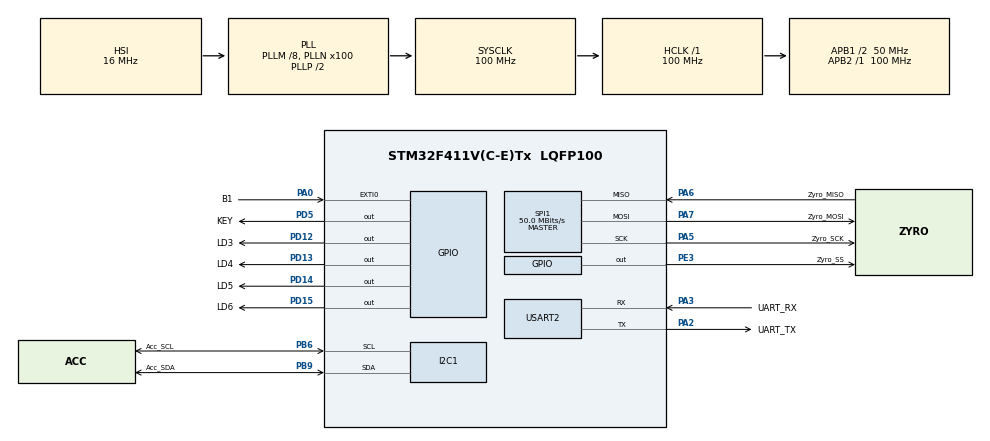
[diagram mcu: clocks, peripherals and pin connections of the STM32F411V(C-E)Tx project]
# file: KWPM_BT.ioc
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I2C1.I2C_Mode=I2C_Fast
Mcu.Family=STM32F4
Mcu.Name=STM32F411V(C-E)Tx
Mcu.Package=LQFP100
NVIC.EXTI0_IRQn=true\:0\:0\:false\:false\:true\:true\:true
NVIC.PriorityGroup=NVIC_PRIORITYGROUP_4
NVIC.TIM1_TRG_COM_TIM11_IRQn=true\:0\:0\:false\:false\:true\:true\:true
NVIC.TIM1_UP_TIM10_IRQn=true\:0\:0\:false\:false\:true\:true\:true
NVIC.USART2_IRQn=true\:0\:0\:false\:false\:true\:true\:true
PA0-WKUP.GPIO_Label=B1
PA0-WKUP.Signal=GPXTI0
PA2.GPIO_Label=UART_TX
PA2.Mode=Asynchronous
PA2.Signal=USART2_TX
PA3.GPIO_Label=UART_RX
PA3.Mode=Asynchronous
PA3.Signal=USART2_RX
PA5.GPIO_Label=Zyro_SCK
PA5.Mode=Full_Duplex_Master
PA5.Signal=SPI1_SCK
PA6.GPIO_Label=Zyro_MISO
PA6.Mode=Full_Duplex_Master
PA6.Signal=SPI1_MISO
PA7.GPIO_Label=Zyro_MOSI
PA7.Mode=Full_Duplex_Master
PA7.Signal=SPI1_MOSI
PB6.GPIO_Label=Acc_SCL
PB6.Mode=I2C
PB6.Signal=I2C1_SCL
PB9.GPIO_Label=Acc_SDA
PB9.Mode=I2C
PB9.Signal=I2C1_SDA
PC14-OSC32_IN.Mode=LSE-External-Oscillator
PC14-OSC32_IN.Signal=RCC_OSC32_IN
PC15-OSC32_OUT.Mode=LSE-External-Oscillator
PC15-OSC32_OUT.Signal=RCC_OSC32_OUT
PD12.GPIO_Label=LD3
PD12.Signal=GPIO_Output
PD13.GPIO_Label=LD4
PD13.Signal=GPIO_Output
PD14.GPIO_Label=LD5
PD14.Signal=GPIO_Output
PD15.GPIO_Label=LD6
PD15.Signal=GPIO_Output
PD5.GPIO_Label=KEY
PD5.Signal=GPIO_Output
PE3.GPIO_Label=Zyro_SS
PE3.Signal=GPIO_Output
PH0\ -\ OSC_IN.Mode=HSE-External-Clock-Source
PH0\ -\ OSC_IN.Signal=RCC_OSC_IN
PH1\ -\ OSC_OUT.Mode=HSE-External-Clock-Source
PH1\ -\ OSC_OUT.Signal=RCC_OSC_OUT
ProjectManager.HeapSize=0x200
ProjectManager.StackSize=0x400
ProjectManager.TargetToolchain=STM32CubeIDE
RCC.48MHZClocksFreq_Value=50000000
RCC.AHBFreq_Value=100000000
RCC.APB1CLKDivider=RCC_HCLK_DIV2
RCC.APB1Freq_Value=50000000
RCC.APB1TimFreq_Value=100000000
RCC.APB2Freq_Value=100000000
RCC.APB2TimFreq_Value=100000000
RCC.CortexFreq_Value=100000000
RCC.HCLKFreq_Value=100000000
RCC.HSE_VALUE=25000000
RCC.HSI_VALUE=16000000
RCC.PLLM=8
RCC.PLLN=100
RCC.SYSCLKFreq_VALUE=100000000
RCC.SYSCLKSource=RCC_SYSCLKSOURCE_PLLCLK
RCC.VCOOutputFreq_Value=200000000
SPI1.CalculateBaudRate=50.0 MBits/s
SPI1.Direction=SPI_DIRECTION_2LINES
SPI1.Mode=SPI_MODE_MASTER
SPI1.VirtualType=VM_MASTER
TIM10.Period=999
TIM10.Prescaler=9999
TIM11.Period=199
TIM11.Prescaler=9999
USART2.VirtualMode=VM_ASYNC
VP_TIM10_VS_ClockSourceINT.Mode=Enable_Timer
VP_TIM11_VS_ClockSourceINT.Mode=Enable_Timer
board=STM32F411E-DISCO

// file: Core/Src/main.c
/* USER CODE BEGIN Header */
/**
  ******************************************************************************
  * @file           : main.c
  * @brief          : Main program body
  ******************************************************************************
  * @attention
  *
  * <h2><center>&copy; Copyright (c) 2020 STMicroelectronics.
  * All rights reserved.</center></h2>
  *
  * This software component is licensed by ST under BSD 3-Clause license,
  * the "License"; You may not use this file except in compliance with the
  * License. You may obtain a copy of the License at:
  *                        opensource.org/licenses/BSD-3-Clause
  *
  ******************************************************************************
  */
/* USER CODE END Header */

#include "main.h"
#include "i2c.h"
#include "spi.h"
#include "tim.h"
#include "usart.h"
#include "gpio.h"

/* USER CODE BEGIN Includes */
#include "matrix.h"
#include <stdio.h>
#include <limits.h>
#include <math.h>
#include <string.h>
/* USER CODE END Includes */

/* USER CODE BEGIN PD */

//AKCELEROMETR
#define ACC_USTAWIENIA 0x57
#define ACC_ADRES (0x19 << 1)
#define ACC_CTRL_REG1_A 0x20
#define ACC_CTRL_REG4_A 0x23
#define ACC_ZCZYTANIE_POCZATEK 0x28
#define ACC_MULTI_READ 0x80
#define ACC_WSZYSTKIE_OSIE_ZCZYTANIE (ACC_MULTI_READ | ACC_ZCZYTANIE_POCZATEK)
#define ACC_SET_4G 0x10

//ZYROSKOP
#define ZYR_REG1_A 0x20
#define ZYR_USTAWIENIA 0x0F
#define ZYR_MULTIREAD 0x40
#define ZYR_READ 0x80
#define ZYR_ZCZYTANIE_POCZATEK 0x28
#define ZYR_WSZYSTKIE_OSIE_ZCZYTANIE (ZYR_READ | ZYR_MULTIREAD | ZYR_ZCZYTANIE_POCZATEK)

/* USER CODE END PD */

/* USER CODE BEGIN PV */

//Komunikacja
int8_t Wiadomosc[200];
uint8_t Odbior;
int16_t Rozmiar;

uint8_t Dane[6]; // Tablica przechowujaca wszystkie bajty zczytane z akcelerometru lub zyroskopu
int16_t X = 0; // Zczytane dane z osi X w formie zlaczonych w całość bajtów starszych i młodszych
int16_t Y = 0; // Zczytane dane z osi Y w formie zlaczonych w całość bajtów starszych i młodszych
int16_t Z = 0; // Zczytane dane z osi Z w formie zlaczonych w całość bajtów starszych i młodszych

float X_g = 0; // Zawiera przyspieszenie w osi X w jednostce g - przyspieszenia ziemskiego
float Y_g = 0; // Zawiera przyspieszenie w osi Y w jednostce g - przyspieszenia ziemskiego
float Z_g = 0; // Zawiera przyspieszenie w osi Z w jednostce g - przyspieszenia ziemskiego

float X_mem = 0; // Poprzednia wartość
float Y_mem = 0; // Poprzednia wartość
float Z_mem = 0; // Poprzednia wartość

float X_roznica = 0; // Przechowywuje roznice
float Y_roznica = 0; // Przechowywuje roznice
float Z_roznica = 0; // Przechowywuje roznice

float X_kat = 0; // Zawiera wartosc przyspieszenia katowego w osi X w jednostce dps - degrees per second
float Y_kat = 0; // Zawiera wartosc przyspieszenia katowego w osi Y w jednostce dps - degrees per second
float Z_kat = 0; // Zawiera wartosc przyspieszenia katowego w osi Z w jednostce dps - degrees per second

float roll = 0; //kat roll dla filtru komplementarnego
float pitch = 0; //kat pitch dla filtru komplementarnego

int Button_B_mem = 0; //zmienne przechowujace stan przycisku B1
int Button_B = 0;

int Polaczenie = 0; //nawiazana lacznosc z komputerem

//KALMAN x
float x_post[2];
float A[4], B[2], C[2];
float std_dev_v, std_dev_w;
float V[4], W[1];
float P_pri[4], P_post[4];
float x_pri[2];
float eps[1], S[1], K[2];
float u[1], y[1];
float acc_x, acc_y, acc_z;

float Ax[2], Bu[2];
float AP[4], AT[4], APAT[4];
float Cx[1];
float CP[2], CPCT[1];
float PCT[2], S1[1];
float Keps[2];
float KS[2], KSKT[2];

//KALMAN y
float y_post[2];
float A2[4], B2[2], C2[2];
float std_dev_v2, std_dev_w2;
float V2[4], W2[1];
float P_pri2[4], P_post2[4];
float y_pri[2];
float eps2[1], S2[1], K2[2];
float u2[1];
float y2[1];

float Ax2[2], Bu2[2];
float AP2[4], AT2[4], APAT2[4];
float Cx2[1];
float CP2[2], CPCT2[1];
float PCT2[2], S12[1];
float Keps2[2];
float KS2[2], KSKT2[2];
/* USER CODE END PV */

void SystemClock_Config(void);

/* USER CODE BEGIN 0 */

volatile int flaga = 0;
volatile int flaga2 = 0;
//printf przeciazenie

void HAL_TIM_PeriodElapsedCallback (TIM_HandleTypeDef* htim)
{
	if(htim == &htim11){
		flaga = 1;
	}

	if(htim == &htim10){
		flaga2 = 1;
	}
}

void Setup_UART_BT(UART_HandleTypeDef * UART){

	HAL_Delay(1000);
	HAL_GPIO_WritePin(KEY_GPIO_Port, KEY_Pin, GPIO_PIN_SET);
	HAL_Delay(100);                       //Przywrocenie ustawien fabrycznych
	HAL_UART_Transmit(UART, (uint8_t*) "AT+ORGL\r\n", strlen("AT+ORGL\r\n"), 100);
	HAL_Delay(100);                        //Wyzerowanie sparowanych urzadzen
	HAL_UART_Transmit(UART, (uint8_t*) "AT+RMAAD\r\n", strlen("AT+RMAAD\r\n"), 100);
	HAL_Delay(100);                               //Zmiana nazwy na  BT_STM
	HAL_UART_Transmit(UART, (uint8_t*) "AT+NAME=BT_STM\r\n", strlen("AT+NAME=BT_STM\r\n"), 100);
	HAL_Delay(100);                        //Ustawienie roli urzadzenia w tryb slave
	HAL_UART_Transmit(UART, (uint8_t*) "AT+ROLE=0\r\n", strlen("AT+ROLE=0\r\n"), 100);
	HAL_Delay(100);                    //Ustawienie predkosci, ilosci bitow stop, parzystosci
	HAL_UART_Transmit(UART, (uint8_t*) "AT+UART=115200,0,0\r\n", strlen("AT+UART=115200,0,0\r\n"), 100);
	HAL_Delay(100);
	HAL_GPIO_WritePin(KEY_GPIO_Port, KEY_Pin, GPIO_PIN_RESET);

}

void Setup_L3GD20(SPI_HandleTypeDef* spi){

	uint8_t tmp;

	//Rozpoczecie komunikacji spi z zyroskopem
	HAL_GPIO_WritePin(Zyro_SS_GPIO_Port, Zyro_SS_Pin, GPIO_PIN_RESET);

	tmp = ZYR_REG1_A;
	HAL_SPI_Transmit(spi, &tmp, 1, 20);
	tmp = ZYR_USTAWIENIA;
	HAL_SPI_Transmit(spi, &tmp, 1, 20);

	HAL_GPIO_WritePin(Zyro_SS_GPIO_Port, Zyro_SS_Pin, GPIO_PIN_SET);
	HAL_Delay(100);
}

void L3GD20_MultiRead(SPI_HandleTypeDef* spi){

	uint8_t tmp;

	//Rozpoczecie komunikacji spi z zyroskopem
	HAL_GPIO_WritePin(Zyro_SS_GPIO_Port, Zyro_SS_Pin, GPIO_PIN_RESET);

	//zczytanie wartosci wskazan 3ech osi naraz (6 bajtow = 3x(mlodszy i starszy bajt))
	tmp = ZYR_WSZYSTKIE_OSIE_ZCZYTANIE;
	HAL_SPI_Transmit(spi, &tmp, 1, 100);//adres wraz z multireadem
	HAL_SPI_Receive(spi, Dane, 6, 100);

	HAL_GPIO_WritePin(Zyro_SS_GPIO_Port, Zyro_SS_Pin, GPIO_PIN_SET);
}

/////////////////////////////////////////////////////////////
void Filtr_komplementarny(float xg, float yg, float zg, float xa, float ya, float za, float przyrost){

	float dt = 0.02;//50 Hz = 0.02s
	float pitchAcc; //zmienna przechowujaca wskazanie akcelerometru dla danego kata
	float rollAcc;  //zmienna przechowujaca wskazanie akcelerometru dla danego kata

	roll+= xa * dt;
	pitch+= ya * dt;

	//obliczenie sumy przyspieszen w celu wyeliminowania drgan

	if (przyrost > 0.4){

        //Obliczenia dla katu roll
        rollAcc = atan2f(xg, zg) * 180 / M_PI;
        roll = roll * 0.98 + rollAcc * 0.02;

		//Obliczenia dla katu pitch
        pitchAcc = atan2f(yg, zg) * 180 / M_PI;
        pitch = pitch * 0.98 + pitchAcc * 0.02;

	}
}

/////////////////////////////////////////////////////////////////////////////////////////////////////
void KalmanInit(float xg, float zg, float za){
	float dt;

	dt = 0.02;

	A[0] = 1;
	A[1] = -dt;
	A[2] = 0;
	A[3] = 1;

	B[0] = dt;
	B[1] = 0;

	C[0] = 1;
	C[1] = 0;

	std_dev_v = 1;
	std_dev_w = 2;
	V[0] = std_dev_v * std_dev_v * dt;
	V[1] = 0;
	V[2] = 0;
	V[3] = std_dev_v * std_dev_v * dt;
	W[0] = std_dev_w * std_dev_w;

	/* Wartosci poczatkowe filtru */
	P_post[0] = 1;
	P_post[1] = 0;
	P_post[2] = 0;
	P_post[3] = 1;

	acc_x = xg;
	acc_z = zg;
	x_post[0] = atan2f(acc_x,acc_z) * 180 / M_PI;
	x_post[1] = 0;

	HAL_Delay(150);
}

void KalmanInitY(float yg, float zg, float za){
	float dt;

	dt = 0.02;

	A2[0] = 1;
	A2[1] = -dt;
	A2[2] = 0;
	A2[3] = 1;

	B2[0] = dt;
	B2[1] = 0;

	C2[0] = 1;
	C2[1] = 0;

	std_dev_v2 = 1;
	std_dev_w2 = 2;
	V2[0] = std_dev_v2 * std_dev_v2 * dt;
	V2[1] = 0;
	V2[2] = 0;
	V2[3] = std_dev_v2 * std_dev_v2 * dt;
	W2[0] = std_dev_w2 * std_dev_w2;

	/* Wartosci poczatkowe filtru */
	P_post2[0] = 1;
	P_post2[1] = 0;
	P_post2[2] = 0;
	P_post2[3] = 1;

	acc_y = yg;
	acc_z = zg;
	y_post[0] = atan2f(acc_y,acc_z) * 180 / M_PI;
	y_post[1] = 0;

	HAL_Delay(150);
}

void filtrKalmana(float xg, float zg, float za){

		// I
		u[0] = za * 250 / 32768;
		matrix_2x2_mul_2x1(A, x_post, Ax);
		mx2x1_tim_mx1x1(B, u, Bu);
		matrix_2x1_add_2x1(Ax, Bu, x_pri);

		// II
		matrix_2x2_mul_2x2(A, P_post, AP);
		matrix_2x2_trans(A, AT);
		matrix_2x2_mul_2x2(AP, AT, APAT);
		matrix_2x2_add_2x2(APAT, V, P_pri);

		// III
		acc_x = xg;
		acc_z = zg;
		y[0] = atan2f(acc_x,acc_z ) * 180 / M_PI;
		mx1x2_tim_mx2x1(C, x_pri, Cx);
		eps[0] = y[0] - Cx[0];

		// IV
		mx1x2_tim_mx2x2(C, P_pri, CP);
		mx1x2_tim_mx2x1(C, C, CPCT);
		S[0] = CPCT[0] + W[0];

		// V
		matrix_2x2_mul_2x1(P_pri, C, PCT);
		S1[0] = 1 / S[0];
		mx2x1_tim_mx1x1(PCT, S1, K);

		// VI
		mx2x1_tim_mx1x1(K, eps, Keps);
		matrix_2x1_add_2x1(x_pri, Keps, x_post);

		// VII
		mx2x1_tim_mx1x1(K, S, KS);
		matrix_2x1_mul_1x2(KS, K, KSKT);
		matrix_2x2_sub_2x2(P_pri, KSKT, P_post);

}

void filtrKalmanaY(float yg, float zg, float za){

		// I
		u2[0] = za * 250 / 32768;
		matrix_2x2_mul_2x1(A2, y_post, Ax2);
		mx2x1_tim_mx1x1(B2, u2, Bu2);
		matrix_2x1_add_2x1(Ax2, Bu2, y_pri);

		// II
		matrix_2x2_mul_2x2(A2, P_post2, AP2);
		matrix_2x2_trans(A2, AT2);
		matrix_2x2_mul_2x2(AP2, AT2, APAT2);
		matrix_2x2_add_2x2(APAT2, V2, P_pri2);

		// III
		acc_y = yg;
		acc_z = zg;
		y2[0] = atan2f(acc_y,acc_z ) * 180 / M_PI;
		mx1x2_tim_mx2x1(C2, y_pri, Cx2);
		eps2[0] = y2[0] - Cx2[0];

		// IV
		mx1x2_tim_mx2x2(C2, P_pri2, CP2);
		mx1x2_tim_mx2x1(C2, C2, CPCT2);
		S2[0] = CPCT2[0] + W2[0];

		// V
		matrix_2x2_mul_2x1(P_pri2, C2, PCT2);
		S12[0] = 1 / S2[0];
		mx2x1_tim_mx1x1(PCT2, S12, K2);

		// VI
		mx2x1_tim_mx1x1(K2, eps2, Keps2);
		matrix_2x1_add_2x1(y_pri, Keps2, y_post);

		// VII
		mx2x1_tim_mx1x1(K2, S2, KS2);
		matrix_2x1_mul_1x2(KS2, K2, KSKT2);
		matrix_2x2_sub_2x2(P_pri2, KSKT2, P_post2);

}

/* USER CODE END 0 */

int main(void)
{

  /* MCU Configuration--------------------------------------------------------*/

  /* Reset of all peripherals, Initializes the Flash interface and the Systick. */
  HAL_Init();

  /* Configure the system clock */
  SystemClock_Config();

  /* Initialize all configured peripherals */
  MX_GPIO_Init();
  MX_I2C1_Init();
  MX_SPI1_Init();
  MX_TIM11_Init();
  MX_USART2_UART_Init();
  MX_TIM10_Init();
  /* USER CODE BEGIN 2 */

  //Zablokowanie komunikacji z zyroskopem
  HAL_GPIO_WritePin(Zyro_SS_GPIO_Port, Zyro_SS_Pin, GPIO_PIN_SET);

  //Wywolanie inicjalizacji ustawien zyroskopu
  //Setup_UART_BT(&huart2);

  //AKCELEROMETR - zmienne pomocnicze do komunikacji z akcelerometrem
  uint8_t USTAWIENIA = ACC_USTAWIENIA;
  uint8_t RESOLUTION = ACC_SET_4G;

  //AKCELEROMETR - aktywacja, 100Hz, oś XYZ
  HAL_I2C_Mem_Write(&hi2c1, ACC_ADRES, ACC_CTRL_REG1_A, 1, &USTAWIENIA, 1, 100);

  //AKCELEROMETR - zmiana zakresu pomiarowego z +-2g na +-4g
  HAL_I2C_Mem_Write(&hi2c1, ACC_ADRES, ACC_CTRL_REG4_A, 1, &RESOLUTION, 1, 100);

  //ZYROSKOP - setup
  Setup_L3GD20(&hspi1);

  //Kalman init
  KalmanInit(X_g,Z_g,Z_kat);

  KalmanInitY(Y_g,Z_g,Z_kat);

  /* USER CODE END 2 */

  /* Infinite loop */
  /* USER CODE BEGIN WHILE */

  //TIM11 - 50Hz TIM10 - 10Hz
  HAL_TIM_Base_Start_IT(&htim11);
  HAL_TIM_Base_Start_IT(&htim10);

  while (1)
  {
	  if(Polaczenie == 1){

		  Button_B_mem = Button_B;
		  Button_B = 0;
		   if (HAL_GPIO_ReadPin(B1_GPIO_Port, B1_Pin) == GPIO_PIN_SET) {

			   if (HAL_GPIO_ReadPin(B1_GPIO_Port, B1_Pin) == GPIO_PIN_SET) {

				   Button_B = 1;

					   if (flaga == 1){

						   //Zczytanie kolejnych 6ściu bajtów wskazań z kolejno osi x, y, z (3x(mlodszy + starszy bajt))
						   HAL_I2C_Mem_Read(&hi2c1, ACC_ADRES, ACC_WSZYSTKIE_OSIE_ZCZYTANIE, 1, Dane, 6, 100);
						   X = ((Dane[1] << 8) | Dane[0]);
						   Y = ((Dane[3] << 8) | Dane[2]);
						   Z = ((Dane[5] << 8) | Dane[4]);

						   //Przeksztalcenie w faktyczna jednostke wskazan
						   X_g = ((float) X * 4.0) / (float) INT16_MAX;
						   Y_g = ((float) Y * 4.0) / (float) INT16_MAX;
						   Z_g = ((float) Z * 4.0) / (float) INT16_MAX;

						   X_roznica = fabs(X_mem - X_g);
						   Y_roznica = fabs(Y_mem - Y_g);
						   Z_roznica = fabs(Z_mem - Z_g);

						   L3GD20_MultiRead(&hspi1);

						   X_kat = ((float)((int16_t)((Dane[1] << 8) | Dane[0])) * 250.0)/(float) INT16_MAX;
						   Y_kat = ((float)((int16_t)((Dane[3] << 8) | Dane[2])) * 250.0)/(float) INT16_MAX;
						   Z_kat = ((float)((int16_t)((Dane[5] << 8) | Dane[4])) * 250.0)/(float) INT16_MAX;

						   if(X_roznica > 0.15)HAL_GPIO_TogglePin(LD3_GPIO_Port, LD3_Pin);
						   if(Y_roznica > 0.15)HAL_GPIO_TogglePin(LD4_GPIO_Port, LD4_Pin);
						   if(Z_roznica > 0.15)HAL_GPIO_TogglePin(LD5_GPIO_Port, LD5_Pin);

						   filtrKalmana(X_g,Z_g,Z_kat);
						   filtrKalmanaY(Y_g,Z_g,Z_kat);

						   Filtr_komplementarny(X_g,Y_g,Z_g, X_kat,Y_kat,Z_kat,X_roznica+Y_roznica+Z_roznica);

						   Rozmiar = sprintf((char *)Wiadomosc, "Xg: %f Yg: %f Zg: %f Xa: %f Ya: %f Za: %f Rkom: %f Pkom: %f Xpost: %f Ypost: %f B: %d\n", X_g,Y_g, Z_g, X_kat,Y_kat,Z_kat,roll,pitch,x_post[0],y_post[0],Button_B);

						   HAL_UART_Transmit(&huart2, (uint8_t*) Wiadomosc,  Rozmiar, 100);

						   HAL_Delay(5);

						   X_mem = X_g;
						   Y_mem = Y_g;
						   Z_mem = Z_g;

						   flaga = 0;
					   }
				   }

			   }
		   HAL_GPIO_WritePin(LD3_GPIO_Port, LD3_Pin, GPIO_PIN_RESET);
		   HAL_GPIO_WritePin(LD4_GPIO_Port, LD4_Pin, GPIO_PIN_RESET);
		   HAL_GPIO_WritePin(LD5_GPIO_Port, LD5_Pin, GPIO_PIN_RESET);

		   if(Button_B_mem == Button_B && Button_B_mem == 0 && flaga == 1){

			   flaga = 0;
			   Rozmiar = sprintf((char *)Wiadomosc, "Xg: %f Yg: %f Zg: %f Xa: %f Ya: %f Za: %f Rkom: %f Pkom: %f Xpost: %f Ypost: %f B: %d\n", X_g,Y_g, Z_g, X_kat,Y_kat,Z_kat,roll,pitch,x_post[0],y_post[0],Button_B);

			   HAL_UART_Transmit(&huart2, (uint8_t*) Wiadomosc,  Rozmiar, 100);

			   HAL_Delay(5);
		   }
	  }
	  if(flaga2 == 1){

		   HAL_UART_Receive(&huart2, &Odbior, 1,10);

		   if(Odbior == '1'){

			   Polaczenie = 1;

		   }

		   if(Odbior == '0'){

			   Polaczenie = 0;

		   }
		   flaga2 = 0;

	  }

    /* USER CODE END WHILE */

  }
}

void SystemClock_Config(void)
{
  RCC_OscInitTypeDef RCC_OscInitStruct = {0};
  RCC_ClkInitTypeDef RCC_ClkInitStruct = {0};

  /** Configure the main internal regulator output voltage
  */
  __HAL_RCC_PWR_CLK_ENABLE();
  __HAL_PWR_VOLTAGESCALING_CONFIG(PWR_REGULATOR_VOLTAGE_SCALE1);
  /** Initializes the CPU, AHB and APB busses clocks
  */
  RCC_OscInitStruct.OscillatorType = RCC_OSCILLATORTYPE_HSI;
  RCC_OscInitStruct.HSIState = RCC_HSI_ON;
  RCC_OscInitStruct.HSICalibrationValue = RCC_HSICALIBRATION_DEFAULT;
  RCC_OscInitStruct.PLL.PLLState = RCC_PLL_ON;
  RCC_OscInitStruct.PLL.PLLSource = RCC_PLLSOURCE_HSI;
  RCC_OscInitStruct.PLL.PLLM = 8;
  RCC_OscInitStruct.PLL.PLLN = 100;
  RCC_OscInitStruct.PLL.PLLP = RCC_PLLP_DIV2;
  RCC_OscInitStruct.PLL.PLLQ = 4;
  if (HAL_RCC_OscConfig(&RCC_OscInitStruct) != HAL_OK)
  {
    Error_Handler();
  }
  /** Initializes the CPU, AHB and APB busses clocks
  */
  RCC_ClkInitStruct.ClockType = RCC_CLOCKTYPE_HCLK|RCC_CLOCKTYPE_SYSCLK
                              |RCC_CLOCKTYPE_PCLK1|RCC_CLOCKTYPE_PCLK2;
  RCC_ClkInitStruct.SYSCLKSource = RCC_SYSCLKSOURCE_PLLCLK;
  RCC_ClkInitStruct.AHBCLKDivider = RCC_SYSCLK_DIV1;
  RCC_ClkInitStruct.APB1CLKDivider = RCC_HCLK_DIV2;
  RCC_ClkInitStruct.APB2CLKDivider = RCC_HCLK_DIV1;

  if (HAL_RCC_ClockConfig(&RCC_ClkInitStruct, FLASH_LATENCY_3) != HAL_OK)
  {
    Error_Handler();
  }
}

void Error_Handler(void)
{
}

/************************ (C) COPYRIGHT STMicroelectronics *****END OF FILE****/
